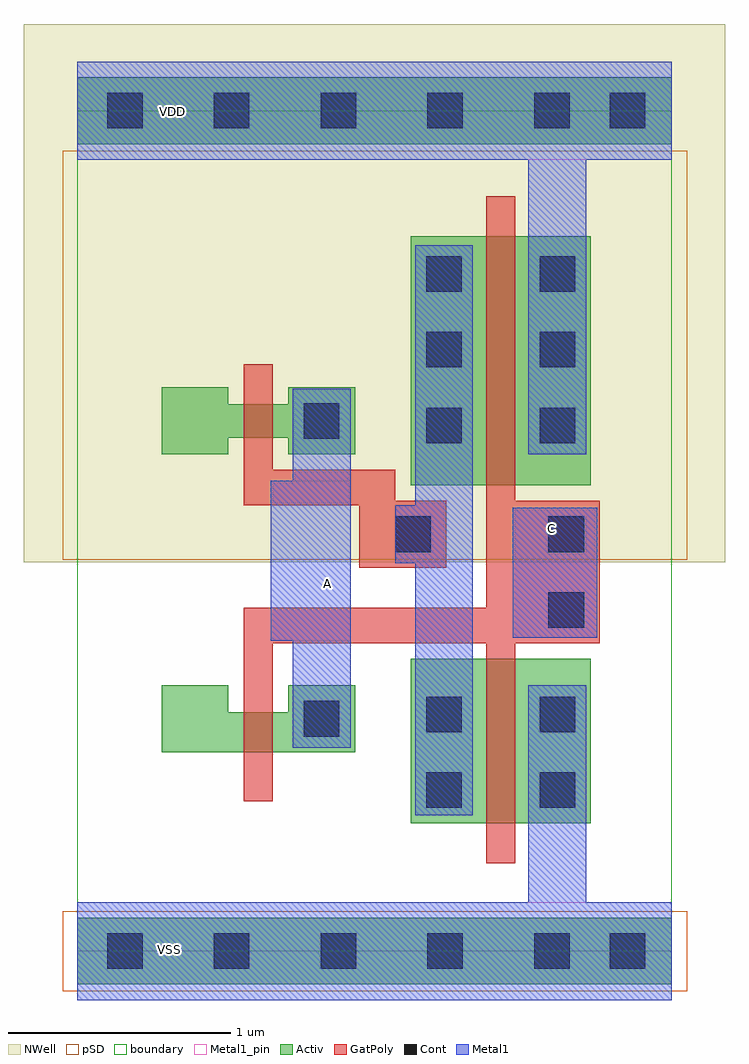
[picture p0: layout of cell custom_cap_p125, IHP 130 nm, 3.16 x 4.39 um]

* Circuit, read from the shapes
.subckt custom_cap_p125 A C VDD VSS
XM1 A C n1 VSS sg13_lv_nmos w=0.18u l=0.13u
XM2 VSS C n2 VSS sg13_lv_nmos w=0.74u l=0.13u
XM3 A n2 n3 VDD sg13_lv_pmos w=0.15u l=0.13u
XM4 VDD C n2 VDD sg13_lv_pmos w=1.12u l=0.13u
.ends

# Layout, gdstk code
import gdstk
lib = gdstk.Library(unit=1e-6, precision=1e-09)
def R(c, l, rs):  # rectangles x0, y0, x1, y1
    for r in rs: c.add(gdstk.rectangle(r[:2], r[2:], *l))
def A(c, l, x, y, w, h, nx, ny, dx, dy):  # array of equal rectangles
    R(c, l, [(x+i*dx, y+j*dy, x+i*dx+w, y+j*dy+h) for i in range(nx) for j in range(ny)])
def P(c, l, *ps):  # polygons
    for p in ps: c.add(gdstk.Polygon(p, *l))
Activ = (1, 0)
GatPoly = (5, 0)
Cont = (6, 0)
Metal1 = (8, 0)
Metal1_pin = (8, 2)
pSD = (14, 0)
NWell = (31, 0)
boundary = (189, 4)

custom_cap_p125 = lib.new_cell('custom_cap_p125')
R(custom_cap_p125, Activ, [(0,-0.15,2.675,0.15), (1.5,0.575,2.31,1.315), (1.5,2.095,2.31,3.215), (0,3.63,2.675,3.93)])
P(custom_cap_p125, Activ, [(0.38,0.895),(0.38,1.195),(0.68,1.195),(0.68,1.075),(0.95,1.075),(0.95,1.195),(1.25,1.195),(1.25,0.895)],
  [(0.38,2.235),(0.38,2.535),(0.68,2.535),(0.68,2.46),(0.95,2.46),(0.95,2.535),(1.25,2.535),(1.25,2.235),(0.95,2.235),(0.95,2.31),(0.68,2.31),(0.68,2.235)])
P(custom_cap_p125, GatPoly, [(1.27,1.725),(1.27,2.005),(0.75,2.005),(0.75,2.64),(0.88,2.64),(0.88,2.165),(1.43,2.165),(1.43,2.025),(1.66,2.025),(1.66,1.725)],
  [(1.84,0.395),(1.84,1.385),(0.88,1.385),(0.88,0.675),(0.75,0.675),(0.75,1.545),(1.84,1.545),(1.84,3.395),(1.97,3.395),(1.97,2.025),(2.35,2.025),(2.35,1.385),(1.97,1.385),(1.97,0.395)])
A(custom_cap_p125, Cont, 1.57, 2.285, 0.16, 0.16, 1, 3, 0, 0.34)
A(custom_cap_p125, Cont, 2.08, 2.285, 0.16, 0.16, 1, 3, 0, 0.34)
R(custom_cap_p125, Cont, [(0.135,-0.08,0.295,0.08), (0.135,-0.08,0.295,0.08), (0.615,-0.08,0.775,0.08), (0.615,-0.08,0.775,0.08), (1.095,-0.08,1.255,0.08), (1.095,-0.08,1.255,0.08), (1.575,-0.08,1.735,0.08), (1.575,-0.08,1.735,0.08), (2.055,-0.08,2.215,0.08), (2.055,-0.08,2.215,0.08), (2.395,-0.08,2.555,0.08), (2.395,-0.08,2.555,0.08), (1.57,0.645,1.73,0.805), (2.08,0.645,2.24,0.805), (1.02,0.965,1.18,1.125), (1.57,0.985,1.73,1.145), (2.08,0.985,2.24,1.145), (2.12,1.455,2.28,1.615), (1.43,1.795,1.59,1.955), (2.12,1.795,2.28,1.955), (1.02,2.305,1.18,2.465), (0.135,3.7,0.295,3.86), (0.135,3.7,0.295,3.86), (0.615,3.7,0.775,3.86), (0.615,3.7,0.775,3.86), (1.095,3.7,1.255,3.86), (1.095,3.7,1.255,3.86), (1.575,3.7,1.735,3.86), (1.575,3.7,1.735,3.86), (2.055,3.7,2.215,3.86), (2.055,3.7,2.215,3.86), (2.395,3.7,2.555,3.86), (2.395,3.7,2.555,3.86)])
R(custom_cap_p125, Metal1, [(1.96,1.41,2.34,1.995)])
P(custom_cap_p125, Metal1, [(0,-0.22),(0,0.22),(2.03,0.22),(2.03,1.195),(2.29,1.195),(2.29,0.22),(2.675,0.22),(2.675,-0.22)],
  [(2.03,2.235),(2.03,3.56),(0,3.56),(0,4),(2.675,4),(2.675,3.56),(2.29,3.56),(2.29,2.235)],
  [(0.97,0.915),(0.97,1.395),(0.87,1.395),(0.87,2.115),(0.97,2.115),(0.97,2.53),(1.23,2.53),(1.23,0.915)],
  [(1.52,0.61),(1.52,1.745),(1.43,1.745),(1.43,2.005),(1.52,2.005),(1.52,3.175),(1.78,3.175),(1.78,0.61)])
R(custom_cap_p125, Metal1_pin, [(0,-0.22,2.675,0.22), (0.87,1.395,1.23,2.115), (1.96,1.41,2.34,1.995), (0,3.56,2.675,4)])
R(custom_cap_p125, pSD, [(-0.065,-0.18,2.745,0.18), (-0.065,1.76,2.745,3.6)])
R(custom_cap_p125, NWell, [(-0.24,1.75,2.915,4.17)])
R(custom_cap_p125, boundary, [(0,0,2.675,3.78)])
custom_cap_p125.add(gdstk.Label('C', (2.135,1.9), layer=8, texttype=25))
custom_cap_p125.add(gdstk.Label('A', (1.125,1.655), layer=8, texttype=25))
custom_cap_p125.add(gdstk.Label('VSS', (0.415,0.005), layer=8, texttype=25))
custom_cap_p125.add(gdstk.Label('VDD', (0.43,3.775), layer=8, texttype=25))

lib.write_gds('custom_cap_p125.gds')
